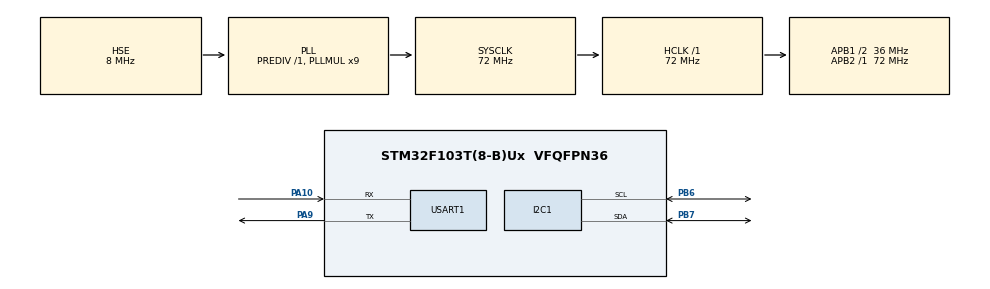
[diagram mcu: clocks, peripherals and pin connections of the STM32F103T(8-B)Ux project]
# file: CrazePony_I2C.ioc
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Mcu.Family=STM32F1
Mcu.Name=STM32F103T(8-B)Ux
Mcu.Package=VFQFPN36
NVIC.PriorityGroup=NVIC_PRIORITYGROUP_4
PA10.Mode=Asynchronous
PA10.Signal=USART1_RX
PA13.Mode=Serial_Wire
PA13.Signal=SYS_JTMS-SWDIO
PA14.Mode=Serial_Wire
PA14.Signal=SYS_JTCK-SWCLK
PA9.Mode=Asynchronous
PA9.Signal=USART1_TX
PB6.Mode=I2C
PB6.Signal=I2C1_SCL
PB7.Mode=I2C
PB7.Signal=I2C1_SDA
PD0-OSC_IN.Mode=HSE-External-Oscillator
PD0-OSC_IN.Signal=RCC_OSC_IN
PD1-OSC_OUT.Mode=HSE-External-Oscillator
PD1-OSC_OUT.Signal=RCC_OSC_OUT
ProjectManager.HeapSize=0x200
ProjectManager.StackSize=0x400
ProjectManager.TargetToolchain=MDK-ARM V5
RCC.AHBFreq_Value=72000000
RCC.APB1CLKDivider=RCC_HCLK_DIV2
RCC.APB1Freq_Value=36000000
RCC.APB1TimFreq_Value=72000000
RCC.APB2Freq_Value=72000000
RCC.APB2TimFreq_Value=72000000
RCC.HCLKFreq_Value=72000000
RCC.HSIState=RCC_HSI_ON
RCC.PLLMUL=RCC_PLL_MUL9
RCC.PLLSourceVirtual=RCC_PLLSOURCE_HSE
RCC.SYSCLKFreq_VALUE=72000000
RCC.SYSCLKSource=RCC_SYSCLKSOURCE_PLLCLK
RCC.USBFreq_Value=72000000
board=CrazePony_I2C

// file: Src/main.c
/**
  ******************************************************************************
  * File Name          : main.c
  * Description        : Main program body
  ******************************************************************************
  *
  * COPYRIGHT(c) 2016 STMicroelectronics
  *
  * Redistribution and use in source and binary forms, with or without modification,
  * are permitted provided that the following conditions are met:
  *   1. Redistributions of source code must retain the above copyright notice,
  *      this list of conditions and the following disclaimer.
  *   2. Redistributions in binary form must reproduce the above copyright notice,
  *      this list of conditions and the following disclaimer in the documentation
  *      and/or other materials provided with the distribution.
  *   3. Neither the name of STMicroelectronics nor the names of its contributors
  *      may be used to endorse or promote products derived from this software
  *      without specific prior written permission.
  *
  * THIS SOFTWARE IS PROVIDED BY THE COPYRIGHT HOLDERS AND CONTRIBUTORS "AS IS"
  * AND ANY EXPRESS OR IMPLIED WARRANTIES, INCLUDING, BUT NOT LIMITED TO, THE
  * IMPLIED WARRANTIES OF MERCHANTABILITY AND FITNESS FOR A PARTICULAR PURPOSE ARE
  * DISCLAIMED. IN NO EVENT SHALL THE COPYRIGHT HOLDER OR CONTRIBUTORS BE LIABLE
  * FOR ANY DIRECT, INDIRECT, INCIDENTAL, SPECIAL, EXEMPLARY, OR CONSEQUENTIAL
  * DAMAGES (INCLUDING, BUT NOT LIMITED TO, PROCUREMENT OF SUBSTITUTE GOODS OR
  * SERVICES; LOSS OF USE, DATA, OR PROFITS; OR BUSINESS INTERRUPTION) HOWEVER
  * CAUSED AND ON ANY THEORY OF LIABILITY, WHETHER IN CONTRACT, STRICT LIABILITY,
  * OR TORT (INCLUDING NEGLIGENCE OR OTHERWISE) ARISING IN ANY WAY OUT OF THE USE
  * OF THIS SOFTWARE, EVEN IF ADVISED OF THE POSSIBILITY OF SUCH DAMAGE.
  *
  ******************************************************************************
  */
#include "stm32f1xx_hal.h"
#include "MPU6050.h"

I2C_HandleTypeDef hi2c1;

UART_HandleTypeDef huart1;

/* USER CODE BEGIN PV */
/* Private variables ---------------------------------------------------------*/

uint8_t Data[2], DeviceID, IST8310_ID[2];
uint8_t i2cDevice[255];
char* stringBuffer = "Device : 0x";
char* stringBuffer1 = "\r\n";
char* stringYES = "O";

/* USER CODE END PV */

void SystemClock_Config(void);
void Error_Handler(void);
static void MX_GPIO_Init(void);
static void MX_USART1_UART_Init(void);
static void MX_I2C1_Init(void);

/* USER CODE BEGIN PFP */
/* Private function prototypes -----------------------------------------------*/

/* USER CODE END PFP */

int main(void)
{

  /* MCU Configuration----------------------------------------------------------*/

  /* Reset of all peripherals, Initializes the Flash interface and the Systick. */
  HAL_Init();

  /* Configure the system clock */
  SystemClock_Config();

  /* Initialize all configured peripherals */
  MX_GPIO_Init();
  MX_USART1_UART_Init();
  MX_I2C1_Init();

  /* USER CODE BEGIN 2 */

	Data[0] = MPU6050_RA_PWR_MGMT_1;
	Data[1] = 0x80;
	HAL_I2C_Master_Transmit(&hi2c1, MPU6050_ADDRESS, Data, 2, 50);
	HAL_Delay(50);
	Data[0] = MPU6050_RA_USER_CTRL;
	Data[1] = 0x00;
	HAL_I2C_Master_Transmit(&hi2c1, MPU6050_ADDRESS, Data, 2, 50);
	Data[0] = MPU6050_RA_INT_PIN_CFG;
	Data[1] = 0x02;
	HAL_I2C_Master_Transmit(&hi2c1, MPU6050_ADDRESS, Data, 2, 50);
	Data[0] = MPU6050_RA_PWR_MGMT_1;
	Data[1] = 0x03;
	HAL_I2C_Master_Transmit(&hi2c1, MPU6050_ADDRESS, Data, 2, 50);
	HAL_Delay(10);

	for (uint8_t i = 0; i < 255; ++i){
			i2cDevice[i] = 0xF0;
	}

  /* USER CODE END 2 */

  /* Infinite loop */
  while (1)
  {
		Data[0] = 0x00;
		IST8310_ID[0] = 0xF1;
		HAL_I2C_Master_Transmit(&hi2c1, IST8310_ADDRESS, Data, 1, 50);
		HAL_I2C_Master_Receive(&hi2c1, IST8310_ADDRESS, IST8310_ID, 1, 50);
		HAL_Delay(100);

		for (uint8_t i = 0; i < 255; ++i)
		{
			DeviceID = 0xF1;
			HAL_I2C_Master_Transmit(&hi2c1, i, Data, 1, 50);
			HAL_Delay(1);
			HAL_I2C_Master_Receive(&hi2c1, i, &DeviceID, 1, 50);
			i2cDevice[i] = DeviceID;
//			if (DeviceID != 0){
////				HAL_UART_Transmit(&huart1, (uint8_t *) stringYES, 1, 1 );
////				HAL_UART_Transmit(&huart1, (uint8_t *) stringBuffer, 11, 1 );
////				HAL_UART_Transmit(&huart1, (uint8_t *) &i, 1, 1 );
////				HAL_UART_Transmit(&huart1, (uint8_t *) "-", 1, 1 );
////				HAL_UART_Transmit(&huart1, (uint8_t *) stringBuffer1, 2, 1 );
//					i2cDevice[i] = DeviceID;
//			} else {
//			}

		}
		//HAL_UART_Transmit(&huart1, (uint8_t *) "----------------\r\n", 18, 1 );
		HAL_Delay(1000);
  }

}

/** System Clock Configuration
*/
void SystemClock_Config(void)
{

  RCC_OscInitTypeDef RCC_OscInitStruct;
  RCC_ClkInitTypeDef RCC_ClkInitStruct;

  RCC_OscInitStruct.OscillatorType = RCC_OSCILLATORTYPE_HSE;
  RCC_OscInitStruct.HSEState = RCC_HSE_ON;
  RCC_OscInitStruct.HSEPredivValue = RCC_HSE_PREDIV_DIV1;
  RCC_OscInitStruct.PLL.PLLState = RCC_PLL_ON;
  RCC_OscInitStruct.PLL.PLLSource = RCC_PLLSOURCE_HSE;
  RCC_OscInitStruct.PLL.PLLMUL = RCC_PLL_MUL9;
  if (HAL_RCC_OscConfig(&RCC_OscInitStruct) != HAL_OK)
  {
    Error_Handler();
  }

  RCC_ClkInitStruct.ClockType = RCC_CLOCKTYPE_HCLK|RCC_CLOCKTYPE_SYSCLK
                              |RCC_CLOCKTYPE_PCLK1|RCC_CLOCKTYPE_PCLK2;
  RCC_ClkInitStruct.SYSCLKSource = RCC_SYSCLKSOURCE_PLLCLK;
  RCC_ClkInitStruct.AHBCLKDivider = RCC_SYSCLK_DIV1;
  RCC_ClkInitStruct.APB1CLKDivider = RCC_HCLK_DIV2;
  RCC_ClkInitStruct.APB2CLKDivider = RCC_HCLK_DIV1;
  if (HAL_RCC_ClockConfig(&RCC_ClkInitStruct, FLASH_LATENCY_2) != HAL_OK)
  {
    Error_Handler();
  }

  HAL_SYSTICK_Config(HAL_RCC_GetHCLKFreq()/1000);

  HAL_SYSTICK_CLKSourceConfig(SYSTICK_CLKSOURCE_HCLK);

  /* SysTick_IRQn interrupt configuration */
  HAL_NVIC_SetPriority(SysTick_IRQn, 0, 0);
}

/* I2C1 init function */
static void MX_I2C1_Init(void)
{

  hi2c1.Instance = I2C1;
  hi2c1.Init.ClockSpeed = 100000;
  hi2c1.Init.DutyCycle = I2C_DUTYCYCLE_2;
  hi2c1.Init.OwnAddress1 = 0;
  hi2c1.Init.AddressingMode = I2C_ADDRESSINGMODE_7BIT;
  hi2c1.Init.DualAddressMode = I2C_DUALADDRESS_DISABLE;
  hi2c1.Init.OwnAddress2 = 0;
  hi2c1.Init.GeneralCallMode = I2C_GENERALCALL_DISABLE;
  hi2c1.Init.NoStretchMode = I2C_NOSTRETCH_DISABLE;
  if (HAL_I2C_Init(&hi2c1) != HAL_OK)
  {
    Error_Handler();
  }

}

/* USART1 init function */
static void MX_USART1_UART_Init(void)
{

  huart1.Instance = USART1;
  huart1.Init.BaudRate = 115200;
  huart1.Init.WordLength = UART_WORDLENGTH_8B;
  huart1.Init.StopBits = UART_STOPBITS_1;
  huart1.Init.Parity = UART_PARITY_NONE;
  huart1.Init.Mode = UART_MODE_TX_RX;
  huart1.Init.HwFlowCtl = UART_HWCONTROL_NONE;
  huart1.Init.OverSampling = UART_OVERSAMPLING_16;
  if (HAL_UART_Init(&huart1) != HAL_OK)
  {
    Error_Handler();
  }

}

/** Configure pins as
        * Analog
        * Input
        * Output
        * EVENT_OUT
        * EXTI
*/
static void MX_GPIO_Init(void)
{

  /* GPIO Ports Clock Enable */
  __HAL_RCC_GPIOD_CLK_ENABLE();
  __HAL_RCC_GPIOA_CLK_ENABLE();
  __HAL_RCC_GPIOB_CLK_ENABLE();

}

void Error_Handler(void)
{
  while(1)
  {
  }
}

/************************ (C) COPYRIGHT STMicroelectronics *****END OF FILE****/
